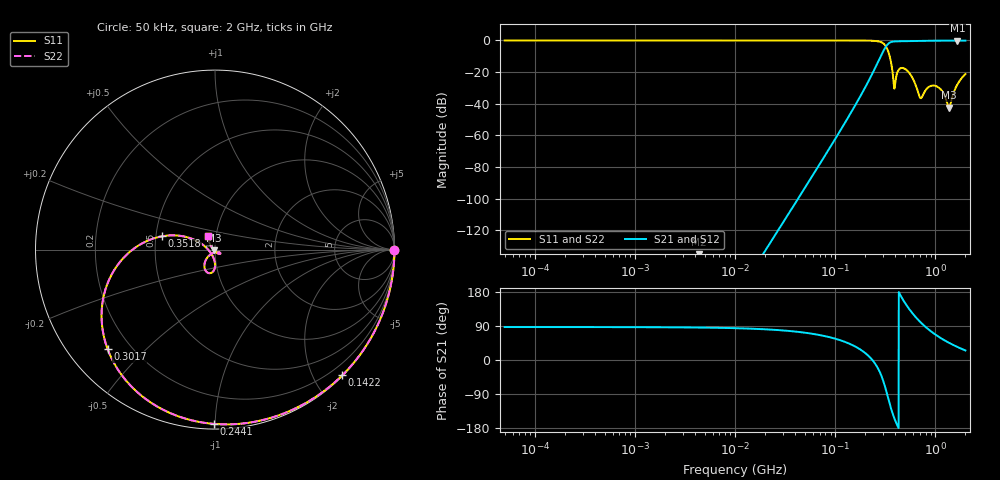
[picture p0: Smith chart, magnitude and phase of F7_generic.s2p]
! Created with skrf 2.2.0 (http://scikit-rf.org).
# MHz S RI R 50.0
! Port[1] = P1
! Port[2] = P2
!freq ReS11 ImS11 ReS21 ImS21 ReS12 ImS12 ReS22 ImS22
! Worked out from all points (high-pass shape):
!   2001 points, 50 kHz to 2 GHz, reference 50 ohm
!   highest |S21| = -0.09 dB at 1.661 GHz (marker M1); lowest = -198.8 dB at 4.399 MHz (marker M2)
!   |S21| within 3 dB of the highest: 328.2 MHz to end of sweep
!   lowest |S11| = -42.5 dB at 1.373 GHz (marker M3), VSWR 1.02, Z = 49.4 - j0.494 ohm
!   |S11| at or under -10 dB: 350.7 MHz to end of sweep
!   |S22| runs from -42.5 to 0.0 dB; largest |S21 - S12| = 1e-15
!   S11 on the Smith chart (normalised r, x): 50 kHz: open; 142.2 MHz: 0.01, -2.44; 244.1 MHz: 0.03, -0.99; 301.7 MHz: 0.12, -0.39; 351.8 MHz: 0.54, +0.09; 2 GHz: 0.91, +0.14
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0.05  1 -0.000258  1.15e-21 2.17e-20  1.15e-21 2.17e-20  1 -0.000258
0.2934364  1 -0.00151  8.26e-18 1.51e-16  8.26e-18 1.51e-16  1 -0.00151
1.712999  1 -0.00883  6.35e-14 1.03e-12  6.35e-14 1.03e-12  1 -0.00883
4.398862  0.9997 -0.0227  8.68e-12 1.14e-10  8.68e-12 1.14e-10  0.9997 -0.0227
10  0.9986 -0.0515  7.28e-10 6.94e-09  7.28e-10 6.94e-09  0.9986 -0.0515
58.68728  0.9533 -0.3005  1.76e-05 4.68e-05  1.76e-05 4.68e-05  0.9533 -0.3005
69.90013  0.9334 -0.3569  4.96e-05 0.000111  4.96e-05 0.000111  0.9334 -0.3569
142.1726  0.7093 -0.7002  0.00365 0.00326  0.00365 0.00326  0.7093 -0.7002
193.3195  0.4255 -0.8951  0.0253 0.00989  0.0253 0.00989  0.4255 -0.8951
244.0738  -0.0049 -0.9713  0.1121 -0.0104  0.1121 -0.0104  -0.0049 -0.9713
301.691  -0.5989 -0.5527  0.2631 -0.366  0.2631 -0.366  -0.5989 -0.5527
342.5997  -0.4066 0.0343  -0.2177 -0.7773  -0.2177 -0.7773  -0.4066 0.0343
351.797  -0.2952 0.074  -0.385 -0.7638  -0.385 -0.7638  -0.2952 0.074
391.1225  -0.0228 -0.0195  -0.8418 -0.402  -0.8418 -0.402  -0.0228 -0.0195
475.829  -0.0426 -0.1277  -0.8874 0.3369  -0.8874 0.3369  -0.0426 -0.1277
623.4525  -0.0326 -0.033  -0.4266 0.8705  -0.4266 0.8705  -0.0326 -0.033
719.335  0.00368 -0.0145  -0.1451 0.9642  -0.1451 0.9642  0.00368 -0.0145
875.1234  0.0295 -0.0188  0.1916 0.9608  0.1916 0.9608  0.0295 -0.0188
1064.651  0.0237 -0.0239  0.454 0.8728  0.454 0.8728  0.0237 -0.0239
1372.957  -0.00559 -0.005  0.6946 0.7027  0.6946 0.7027  -0.00559 -0.005
1661.476  -0.0274 0.0296  0.8154 0.5602  0.8154 0.5602  -0.0274 0.0296
2000  -0.041 0.0765  0.894 0.4203  0.894 0.4203  -0.041 0.0765
